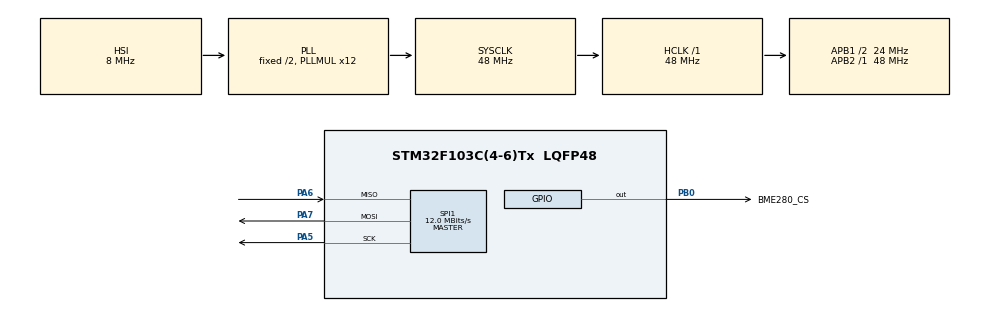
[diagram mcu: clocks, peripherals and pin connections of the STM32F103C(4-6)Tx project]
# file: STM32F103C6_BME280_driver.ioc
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Dma.Request0=SPI1_RX
Dma.Request1=SPI1_TX
Dma.SPI1_RX.0.Direction=DMA_PERIPH_TO_MEMORY
Dma.SPI1_RX.0.Instance=DMA1_Channel2
Dma.SPI1_RX.0.MemDataAlignment=DMA_MDATAALIGN_BYTE
Dma.SPI1_RX.0.MemInc=DMA_MINC_ENABLE
Dma.SPI1_RX.0.Mode=DMA_NORMAL
Dma.SPI1_RX.0.PeriphDataAlignment=DMA_PDATAALIGN_BYTE
Dma.SPI1_RX.0.PeriphInc=DMA_PINC_DISABLE
Dma.SPI1_RX.0.Priority=DMA_PRIORITY_LOW
Dma.SPI1_TX.1.Direction=DMA_MEMORY_TO_PERIPH
Dma.SPI1_TX.1.Instance=DMA1_Channel3
Dma.SPI1_TX.1.MemDataAlignment=DMA_MDATAALIGN_BYTE
Dma.SPI1_TX.1.MemInc=DMA_MINC_ENABLE
Dma.SPI1_TX.1.Mode=DMA_NORMAL
Dma.SPI1_TX.1.PeriphDataAlignment=DMA_PDATAALIGN_BYTE
Dma.SPI1_TX.1.PeriphInc=DMA_PINC_DISABLE
Dma.SPI1_TX.1.Priority=DMA_PRIORITY_LOW
Mcu.Family=STM32F1
Mcu.Name=STM32F103C(4-6)Tx
Mcu.Package=LQFP48
NVIC.DMA1_Channel2_IRQn=true\:0\:0\:false\:false\:true\:false\:true\:true
NVIC.DMA1_Channel3_IRQn=true\:0\:0\:false\:false\:true\:false\:true\:true
NVIC.PriorityGroup=NVIC_PRIORITYGROUP_4
PA13.Mode=Serial_Wire
PA13.Signal=SYS_JTMS-SWDIO
PA14.Mode=Serial_Wire
PA14.Signal=SYS_JTCK-SWCLK
PA5.Mode=Full_Duplex_Master
PA5.Signal=SPI1_SCK
PA6.Mode=Full_Duplex_Master
PA6.Signal=SPI1_MISO
PA7.Mode=Full_Duplex_Master
PA7.Signal=SPI1_MOSI
PB0.GPIO_Label=BME280_CS
PB0.Signal=GPIO_Output
ProjectManager.HeapSize=0x200
ProjectManager.StackSize=0x400
ProjectManager.TargetToolchain=STM32CubeIDE
RCC.AHBFreq_Value=48000000
RCC.APB1CLKDivider=RCC_HCLK_DIV2
RCC.APB1Freq_Value=24000000
RCC.APB1TimFreq_Value=48000000
RCC.APB2Freq_Value=48000000
RCC.APB2TimFreq_Value=48000000
RCC.HCLKFreq_Value=48000000
RCC.PLLMUL=RCC_PLL_MUL12
RCC.PLLSourceVirtual=RCC_PLLSOURCE_HSI_DIV2
RCC.SYSCLKFreq_VALUE=48000000
RCC.SYSCLKSource=RCC_SYSCLKSOURCE_PLLCLK
RCC.USBFreq_Value=48000000
SPI1.BaudRatePrescaler=SPI_BAUDRATEPRESCALER_4
SPI1.CalculateBaudRate=12.0 MBits/s
SPI1.Direction=SPI_DIRECTION_2LINES
SPI1.Mode=SPI_MODE_MASTER
SPI1.VirtualType=VM_MASTER
board=custom

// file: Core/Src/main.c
/* USER CODE BEGIN Header */
/**
 ******************************************************************************
 * @file           : main.c
 * @brief          : Main program body
 ******************************************************************************
 * @attention
 *
 * Copyright (c) 2024 STMicroelectronics.
 * All rights reserved.
 *
 * This software is licensed under terms that can be found in the LICENSE file
 * in the root directory of this software component.
 * If no LICENSE file comes with this software, it is provided AS-IS.
 *
 ******************************************************************************
 */
/* USER CODE END Header */
#include "main.h"

/* USER CODE BEGIN Includes */
#include "bme280.h"
/* USER CODE END Includes */

SPI_HandleTypeDef hspi1;
DMA_HandleTypeDef hdma_spi1_rx;
DMA_HandleTypeDef hdma_spi1_tx;

/* USER CODE BEGIN PV */
uint8_t DataToSend[40];
volatile float temp = 0;
volatile float press = 0;
volatile float humi = 0;
/* USER CODE END PV */

void SystemClock_Config(void);
static void MX_GPIO_Init(void);
static void MX_DMA_Init(void);
static void MX_SPI1_Init(void);

int main(void)
{

  /* MCU Configuration--------------------------------------------------------*/

  /* Reset of all peripherals, Initializes the Flash interface and the Systick. */
  HAL_Init();

  /* Configure the system clock */
  SystemClock_Config();

  /* Initialize all configured peripherals */
  MX_GPIO_Init();
  MX_DMA_Init();
  MX_SPI1_Init();
  /* USER CODE BEGIN 2 */
	bme280_setCtrlMeas(BME280_OVRSAMP_8, BME280_OVRSAMP_8, BME280_FORCED);
	bme280_setCtrlHumi(BME280_OVRSAMP_4);
	bme280_setConfig(BME280_TSB_1000, BME280_FILTER_8, BME280_3W_SPI_OFF);

	if (bme280_init(&hspi1, BME280_CS_GPIO_Port, BME280_CS_Pin)) {
		HAL_Delay(1); //error trap
	}
  /* USER CODE END 2 */

  /* Infinite loop */
  /* USER CODE BEGIN WHILE */
	while (1) {
		bme280_startMeasuring();
		HAL_Delay(1000);
		bme280_readSensor();
		temp = (float)bme280_getTeperature() / 100.0;
		press = (float)bme280_getPressure() / 100.0;
		humi = (float)bme280_getHumidity() / 1024;
    /* USER CODE END WHILE */

	}
}

void SystemClock_Config(void)
{
  RCC_OscInitTypeDef RCC_OscInitStruct = {0};
  RCC_ClkInitTypeDef RCC_ClkInitStruct = {0};

  /** Initializes the RCC Oscillators according to the specified parameters
  * in the RCC_OscInitTypeDef structure.
  */
  RCC_OscInitStruct.OscillatorType = RCC_OSCILLATORTYPE_HSI;
  RCC_OscInitStruct.HSIState = RCC_HSI_ON;
  RCC_OscInitStruct.HSICalibrationValue = RCC_HSICALIBRATION_DEFAULT;
  RCC_OscInitStruct.PLL.PLLState = RCC_PLL_ON;
  RCC_OscInitStruct.PLL.PLLSource = RCC_PLLSOURCE_HSI_DIV2;
  RCC_OscInitStruct.PLL.PLLMUL = RCC_PLL_MUL12;
  if (HAL_RCC_OscConfig(&RCC_OscInitStruct) != HAL_OK)
  {
    Error_Handler();
  }

  /** Initializes the CPU, AHB and APB buses clocks
  */
  RCC_ClkInitStruct.ClockType = RCC_CLOCKTYPE_HCLK|RCC_CLOCKTYPE_SYSCLK
                              |RCC_CLOCKTYPE_PCLK1|RCC_CLOCKTYPE_PCLK2;
  RCC_ClkInitStruct.SYSCLKSource = RCC_SYSCLKSOURCE_PLLCLK;
  RCC_ClkInitStruct.AHBCLKDivider = RCC_SYSCLK_DIV1;
  RCC_ClkInitStruct.APB1CLKDivider = RCC_HCLK_DIV2;
  RCC_ClkInitStruct.APB2CLKDivider = RCC_HCLK_DIV1;

  if (HAL_RCC_ClockConfig(&RCC_ClkInitStruct, FLASH_LATENCY_1) != HAL_OK)
  {
    Error_Handler();
  }
}

static void MX_SPI1_Init(void)
{

  /* SPI1 parameter configuration*/
  hspi1.Instance = SPI1;
  hspi1.Init.Mode = SPI_MODE_MASTER;
  hspi1.Init.Direction = SPI_DIRECTION_2LINES;
  hspi1.Init.DataSize = SPI_DATASIZE_8BIT;
  hspi1.Init.CLKPolarity = SPI_POLARITY_LOW;
  hspi1.Init.CLKPhase = SPI_PHASE_1EDGE;
  hspi1.Init.NSS = SPI_NSS_SOFT;
  hspi1.Init.BaudRatePrescaler = SPI_BAUDRATEPRESCALER_4;
  hspi1.Init.FirstBit = SPI_FIRSTBIT_MSB;
  hspi1.Init.TIMode = SPI_TIMODE_DISABLE;
  hspi1.Init.CRCCalculation = SPI_CRCCALCULATION_DISABLE;
  hspi1.Init.CRCPolynomial = 10;
  if (HAL_SPI_Init(&hspi1) != HAL_OK)
  {
    Error_Handler();
  }

}

static void MX_DMA_Init(void)
{

  /* DMA controller clock enable */
  __HAL_RCC_DMA1_CLK_ENABLE();

  /* DMA interrupt init */
  /* DMA1_Channel2_IRQn interrupt configuration */
  HAL_NVIC_SetPriority(DMA1_Channel2_IRQn, 0, 0);
  HAL_NVIC_EnableIRQ(DMA1_Channel2_IRQn);
  /* DMA1_Channel3_IRQn interrupt configuration */
  HAL_NVIC_SetPriority(DMA1_Channel3_IRQn, 0, 0);
  HAL_NVIC_EnableIRQ(DMA1_Channel3_IRQn);

}

static void MX_GPIO_Init(void)
{
  GPIO_InitTypeDef GPIO_InitStruct = {0};

  /* GPIO Ports Clock Enable */
  __HAL_RCC_GPIOA_CLK_ENABLE();
  __HAL_RCC_GPIOB_CLK_ENABLE();

  /*Configure GPIO pin Output Level */
  HAL_GPIO_WritePin(BME280_CS_GPIO_Port, BME280_CS_Pin, GPIO_PIN_RESET);

  /*Configure GPIO pin : BME280_CS_Pin */
  GPIO_InitStruct.Pin = BME280_CS_Pin;
  GPIO_InitStruct.Mode = GPIO_MODE_OUTPUT_PP;
  GPIO_InitStruct.Pull = GPIO_NOPULL;
  GPIO_InitStruct.Speed = GPIO_SPEED_FREQ_LOW;
  HAL_GPIO_Init(BME280_CS_GPIO_Port, &GPIO_InitStruct);

}

void Error_Handler(void)
{
	__disable_irq();
	while (1) {
	}
}
